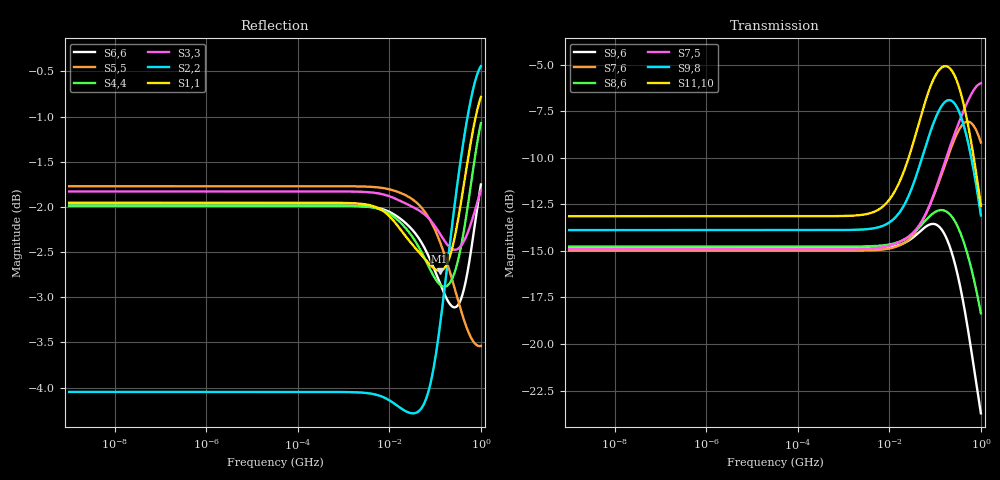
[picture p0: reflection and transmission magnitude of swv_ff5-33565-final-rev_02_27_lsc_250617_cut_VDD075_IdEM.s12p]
! Touchstone data
! Created: 17-Jun-2025 by IdEM 2023 (2023.0.0)
! COMMENTS
!  Touchstone file exported from Ansys Full-Wave Spice
!  Project: 0000_PSI_S-parameter_Sweep
!  Design: unknown
!  Creation time: Tue Jun 17 18:13:01 2025
!  Notes: ! Touchstone(R) file created by SIwave 2025 R1
!  : ! Touchstone(R) file created on Tue Jun 17 18:13:01 2025
!  Modal data exported
!  Port[1] = PORT_1_BGA1_GRP_1_1_VDD_075_BGA1_GRP_1_1_VSS
!  Port[2] = PORT_2_DIE1_GRP_0_0_VDD_075_DIE1_GRP_0_0_VSS
!  Port[3] = PORT_3_DIE1_GRP_0_1_VDD_075_DIE1_GRP_0_1_VSS
!  Port[4] = PORT_4_DIE1_GRP_1_0_VDD_075_DIE1_GRP_1_0_VSS
!  Port[5] = PORT_5_DIE1_GRP_1_1_VDD_075_DIE1_GRP_1_1_VSS
!  Port[6] = PORT_6_DIE1_GRP_2_0_VDD_075_DIE1_GRP_2_0_VSS
!  Port[7] = PORT_7_DIE1_GRP_2_1_VDD_075_DIE1_GRP_2_1_VSS
!  Port[8] = VDD_075_B3_2
!  Port[9] = VDD_075_B4_2
!  Port[10] = VDD_075_C37_2
!  Port[11] = VDD_075_C38_2
!  Port[12] = VDD_075_C78_2
! Options Used in IdEM Flow
! Fitting Options !
! Bandwidth: 1.0000e+09 Hz
! Order: [2 2 6]
! SplitType: none
! tol: 1.0000e-03
! DC Point: enforced
! Passivity Options !
! Alg: SOC+HAM
!  Max SOC it: 200
!  Max HAM it: 50
! Freq sampling: adaptive
! DC Point: enforced
! Optimization method: Model based
# Hz S MA R 0.1
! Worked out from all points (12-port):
!   420 points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, 1 Hz to 1 GHz, reference 0.1 ohm
!   strongest paths, dB at 1 Hz, 3.687 kHz, 11.66 MHz, 482.9 MHz, 1 GHz:
!     S11,10: -13.1, -13.1, -12.0, -7.8, -12.6
!     S9,8: -13.9, -13.9, -13.4, -8.8, -13.1
!     S7,5: -14.9, -14.9, -14.7, -7.1, -6.0
!     S8,6: -14.8, -14.8, -14.6, -15.0, -18.4
!     S7,6: -15.0, -15.0, -14.8, -8.1, -9.2
!     S9,6: -14.9, -14.9, -14.8, -18.7, -23.7
!   lowest |S11| = -2.7 dB at 124.9 MHz (marker M1), VSWR 6.46, Z = 0.0199 + j0.0528 ohm
!   |S11| at or under -10 dB: nowhere
